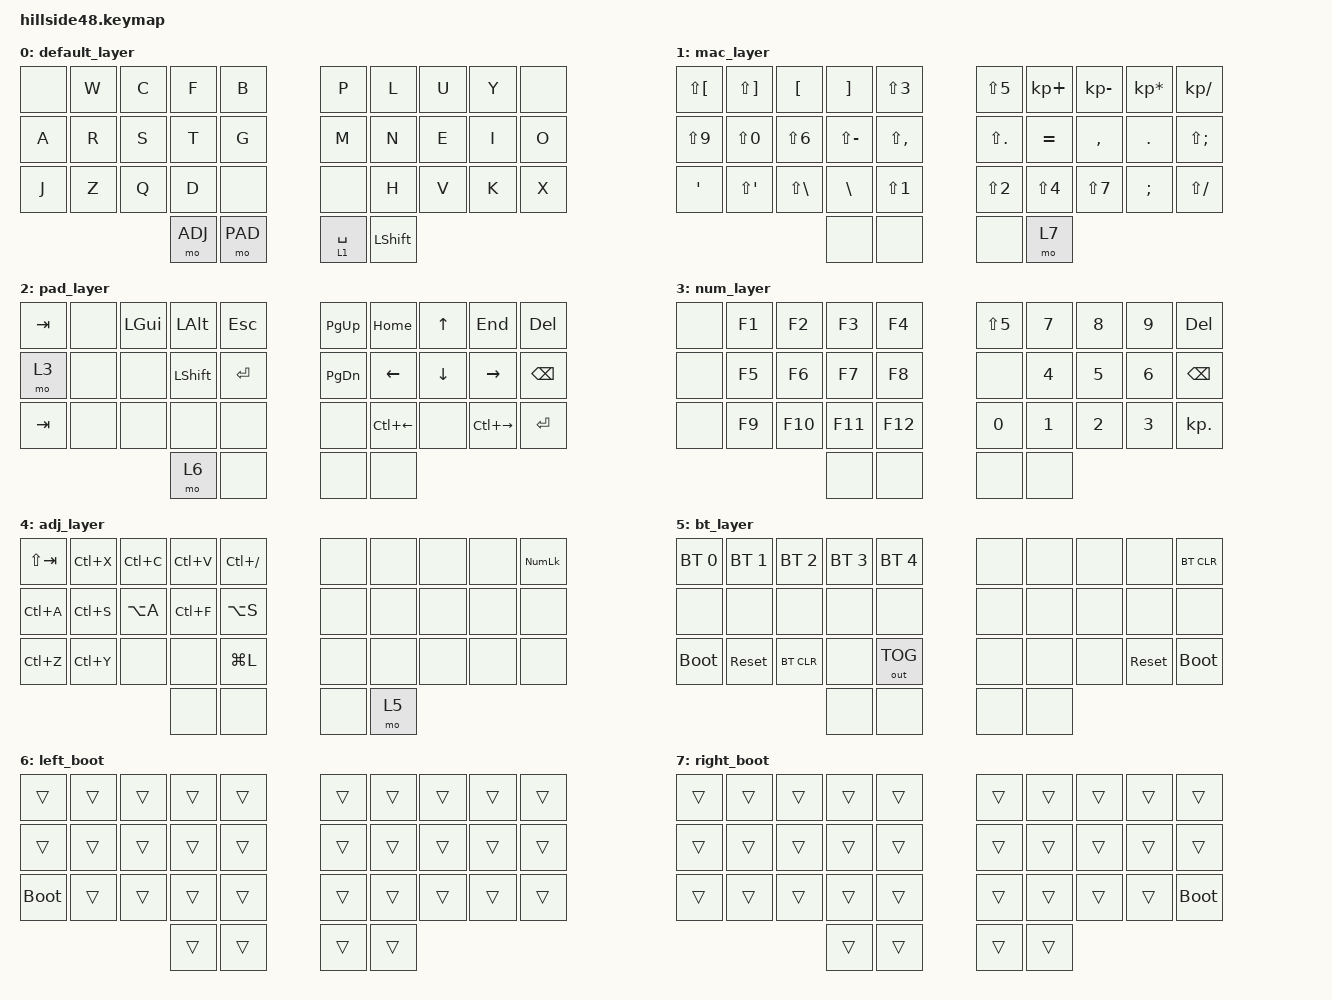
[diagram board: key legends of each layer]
/*
 * Copyright (c) 2022 The ZMK Contributors
 *
 * SPDX-License-Identifier: MIT
 */

#include <behaviors.dtsi>
#include <dt-bindings/zmk/bt.h>
#include <dt-bindings/zmk/keys.h>
#include <dt-bindings/zmk/outputs.h>

#define DEFAULT 0
#define MAC    1
#define PAD    2
#define NUM    3
#define ADJ    4
#define BT     5

/ {
    keymap {
        compatible = "zmk,keymap";

        default_layer {
            /*  DEFAULT
 * ------------------------------------------------------------------------------------------------------------------------------
 * |       |   W   |   C   |   F   |   B   |-----------------------------------|      P   |   L   |   U   |   Y   |       | 
 * |   A   |   R   |   S   |   T   |   G   |-----------------------------------|      M   |   N   |   E   |   I   |   O   | 
 * |   J   |   Z   |   Q   |   D   |       | ----------------------------------|          |   H   |   V   |   K   |   X   | 
 * ------------------------|  MO 4 |  MO 2 | ----------------------------------|SPACE/LT 1|  LSHIFT |-----------------------
 */

            bindings = <
&none  &kp W  &kp C  &kp F    &kp B      &kp P        &kp L       &kp U  &kp Y  &none
&kp A  &kp R  &kp S  &kp T    &kp G      &kp M        &kp N       &kp E  &kp I  &kp O
&kp J  &kp Z  &kp Q  &kp D    &none      &none        &kp H       &kp V  &kp K  &kp X
                     &mo ADJ  &mo PAD    &lt 1 SPACE  &kp LSHIFT
            >;
        };

        mac_layer {
            /* 1
 * ------------------------------------------------------------------------------------------------------------------------------
 * |   {   |   }   |   [   |   ]   |   #   |-----------------------------------|   %   |   +   |   -   |   *   |   /   | 
 * |   (   |   )   |   ^   |   _   |   <   |-----------------------------------|   >   |   =   |   ,   |   .   |   :   | 
 * |   '   |   "   |   |   |   \   |   !   | ----------------------------------|   @   |   $   |   &   |   ;   |   ?   | 
 * ------------------------|       |       | ----------------------------------|       |       |-----------------------
 */

            bindings = <
&kp LS(LBKT)  &kp LS(RBKT)  &kp LBKT      &kp RBKT       &kp LS(N3)       &kp LS(N5)   &kp KP_PLUS  &kp KP_MINUS  &kp KP_MULTIPLY  &kp KP_DIVIDE
&kp LS(N9)    &kp LS(N0)    &kp LS(N6)    &kp LS(MINUS)  &kp LS(COMMA)    &kp LS(DOT)  &kp EQUAL    &kp COMMA     &kp DOT          &kp LS(SEMI)
&kp SQT       &kp LS(SQT)   &kp LS(BSLH)  &kp BSLH       &kp LS(N1)       &kp LS(N2)   &kp LS(N4)   &kp LS(N7)    &kp SEMI         &kp LS(FSLH)
                                          &none          &none            &none        &mo 7
            >;
        };

        pad_layer {
            /* 2
 * ------------------------------------------------------------------------------------------------------------------------------
 * |   TAB   |      | LGUI |  LALT  |   ESC |-----------------------------------|  PGUP  |  HOME  | UP   |  END  |  DEL | 
 * |   MO 3  |      |      | LSHIFT | ENTER |-----------------------------------|  PGDN  |  LEFT  | DOWN | RIGHT | BSPC | 
 * |   TAB   |      |      |        |       | --------------------------------- |        |        |      |       | ENTER| 
 * ------------------------|        |       | ----------------------------------|        |        |-----------------------
 */

            bindings = <
&kp TAB  &none  &kp LGUI  &kp LALT    &kp ESC      &kp PG_UP  &kp HOME      &kp UP    &kp END        &kp DEL
&mo 3    &none  &none     &kp LSHIFT  &kp ENTER    &kp PG_DN  &kp LEFT      &kp DOWN  &kp RIGHT      &kp BSPC
&kp TAB  &none  &none     &none       &none        &none      &kp LC(LEFT)  &none     &kp LC(RIGHT)  &kp ENTER
                          &mo 6       &none        &none      &none
            >;
        };

        num_layer {
            /* 3
 * ------------------------------------------------------------------------------------------------------------------------------
 * |       |   F1   |   F2   |   F3   |   F4   |-----------------------------------|       |   7   |   8   |   9   |   DEL   | 
 * |       |   F5   |   F6   |   F7   |   F8   |-----------------------------------|       |   4   |   5   |   6   |   BSPC  | 
 * |       |   F9   |   F10  |   F11  |   F12  | ----------------------------------|   0   |   1   |   2   |   3   |    .    | 
 * ----------------          |        |        | ----------------------------------|       |       |-----------------------
 */

            bindings = <
&none  &kp F1  &kp F2   &kp F3   &kp F4     &kp LS(N5)  &kp N7  &kp N8  &kp N9  &kp DEL
&none  &kp F5  &kp F6   &kp F7   &kp F8     &none       &kp N4  &kp N5  &kp N6  &kp BSPC
&none  &kp F9  &kp F10  &kp F11  &kp F12    &kp N0      &kp N1  &kp N2  &kp N3  &kp KP_DOT
                        &none    &none      &none       &none
            >;
        };

        adj_layer {
            /* 4
 * ------------------------------------------------------------------------------------------------------------------------------
 * |LS(TAB) |  LC(X)  |  LC(C) |  LC(V) |  LC(FSLH) |-----------------------------------|     |     |      |      | NUMLOCK | 
 * |  LC(A) |  LC(S)  |  LA(A) |  LC(F) |  LA(S)    |-----------------------------------|     |     |      |      |         | 
 * |  LC(Z) |  LC(Y)  |        |        |  LG(L)    | ----------------------------------|     |     |      |      |         | 
 * ----------------            |        |           | ----------------------------------|     |     |-----------------------
 */

            bindings = <
&kp LS(TAB)  &kp LC(X)  &kp LC(C)  &kp LC(V)  &kp LC(FSLH)    &none  &none  &none  &none  &kp KP_NUMLOCK
&kp LC(A)    &kp LC(S)  &kp LA(A)  &kp LC(F)  &kp LA(S)       &none  &none  &none  &none  &none
&kp LC(Z)    &kp LC(Y)  &none      &none      &kp LG(L)       &none  &none  &none  &none  &none
                                   &none      &none           &none  &mo 5
            >;
        };

        bt_layer {
            /* bt
 * ------------------------------------------------------------------------------------------------------------------------------
 * |  BT0  |  BT1  |  BT2  |  BT3  |  BT4  |-----------------------------------|     |      |      |      |      | 
 * |       |       |       |       |       |-----------------------------------|     |      |      |      |      | 
 * |  boot | RESET | BT_CLR|       |  OUT  | ----------------------------------|     |      |      | RESET|  boot| 
 * ----------------        |       |       | ----------------------------------|     | TO 0 |-----------------------
 */

            bindings = <
&bt BT_SEL 0  &bt BT_SEL 1  &bt BT_SEL 2  &bt BT_SEL 3  &bt BT_SEL 4    &none  &none  &none  &none       &bt BT_CLR
&none         &none         &none         &none         &none           &none  &none  &none  &none       &none
&bootloader   &sys_reset    &bt BT_CLR    &none         &out OUT_TOG    &none  &none  &none  &sys_reset  &bootloader
                                          &none         &none           &none  &none
            >;
        };

        left_boot {
            bindings = <
&trans       &trans  &trans  &trans  &trans    &trans  &trans  &trans  &trans  &trans
&trans       &trans  &trans  &trans  &trans    &trans  &trans  &trans  &trans  &trans
&bootloader  &trans  &trans  &trans  &trans    &trans  &trans  &trans  &trans  &trans
                             &trans  &trans    &trans  &trans
            >;
        };

        right_boot {
            bindings = <
&trans  &trans  &trans  &trans  &trans    &trans  &trans  &trans  &trans  &trans
&trans  &trans  &trans  &trans  &trans    &trans  &trans  &trans  &trans  &trans
&trans  &trans  &trans  &trans  &trans    &trans  &trans  &trans  &trans  &bootloader
                        &trans  &trans    &trans  &trans
            >;
        };
    };
};
